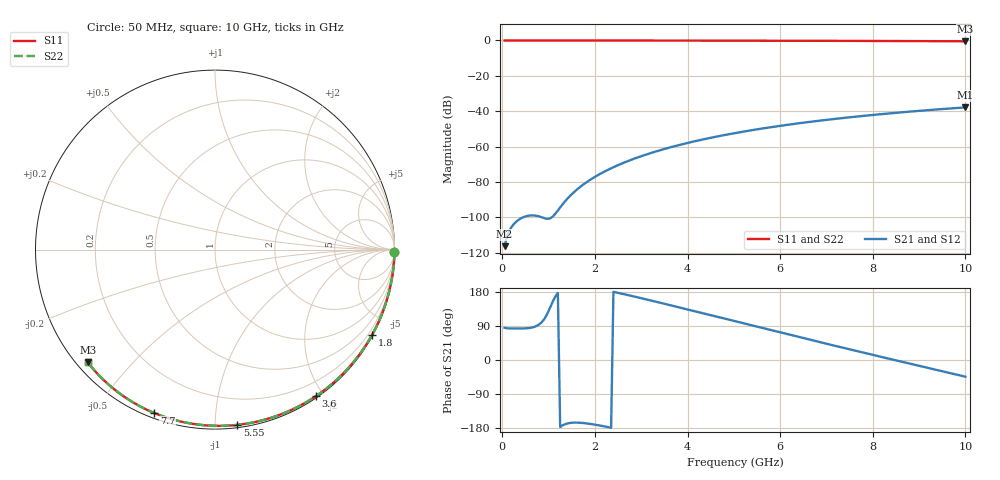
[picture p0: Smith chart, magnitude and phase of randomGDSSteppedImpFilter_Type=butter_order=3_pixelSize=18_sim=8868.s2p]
! freq	dB(S11)	phase(S11)	dB(S12)	phase(S12)
!  dB(S21)	phase(S21)	dB(S22)	phase(S22)
!S-par simulation data
#  GHz  S  DB  R 50
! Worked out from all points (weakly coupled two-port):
!   200 points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, 50 MHz to 10 GHz, reference 50 ohm
!   highest |S21| = -37.84 dB at 10 GHz (marker M1); lowest = -116.3 dB at 50 MHz (marker M2)
!   lowest |S11| = -0.5 dB at 10 GHz (marker M3), VSWR 37.06, Z = 1.54 - j19 ohm
!   |S11| at or under -10 dB: nowhere
!   |S22| runs from -0.5 to 0.0 dB; largest |S21 - S12| = 0
!   S11 on the Smith chart (normalised r, x): 50 MHz: open; 1.8 GHz: 0.03, -3.95; 3.6 GHz: 0.02, -1.90; 5.55 GHz: 0.02, -1.14; 7.7 GHz: 0.02, -0.69; 10 GHz: 0.03, -0.38
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0.05  -0.00 -0.8  -116.31 85.1  -116.31 85.1  -0.00 -0.8
0.45  -0.01 -7.2  -99.97 83.2  -99.97 83.2  -0.01 -7.2
0.9  -0.02 -14.3  -100.42 106.9  -100.42 106.9  -0.02 -14.3
1.75  -0.04 -27.6  -81.44 -166.3  -81.44 -166.3  -0.04 -27.6
1.8  -0.04 -28.4  -80.49 -167.0  -80.49 -167.0  -0.04 -28.4
1.85  -0.04 -29.2  -79.60 -167.8  -79.60 -167.8  -0.04 -29.2
2.05  -0.04 -32.2  -76.35 -171.6  -76.35 -171.6  -0.04 -32.2
2.25  -0.05 -35.3  -73.54 -176.3  -73.54 -176.3  -0.05 -35.3
2.55  -0.05 -39.9  -69.92 175.9  -69.92 175.9  -0.05 -39.9
2.95  -0.06 -45.9  -65.89 164.6  -65.89 164.6  -0.06 -45.9
3.4  -0.07 -52.5  -62.11 151.4  -62.11 151.4  -0.07 -52.5
3.6  -0.07 -55.5  -60.63 145.4  -60.63 145.4  -0.07 -55.5
3.9  -0.08 -59.8  -58.58 136.4  -58.58 136.4  -0.08 -59.8
4.3  -0.09 -65.5  -56.15 124.3  -56.15 124.3  -0.09 -65.5
5.05  -0.12 -76.0  -52.26 101.5  -52.26 101.5  -0.12 -76.0
5.55  -0.14 -82.7  -50.05 86.4  -50.05 86.4  -0.14 -82.7
6.1  -0.16 -90.0  -47.90 69.8  -47.90 69.8  -0.16 -90.0
6.7  -0.19 -97.8  -45.84 51.8  -45.84 51.8  -0.19 -97.8
7.7  -0.25 -110.4  -42.90 22.3  -42.90 22.3  -0.25 -110.4
8.35  -0.30 -118.4  -41.26 3.4  -41.26 3.4  -0.30 -118.4
9.2  -0.38 -128.8  -39.38 -21.1  -39.38 -21.1  -0.38 -128.8
10  -0.47 -138.4  -37.84 -44.0  -37.84 -44.0  -0.47 -138.4
